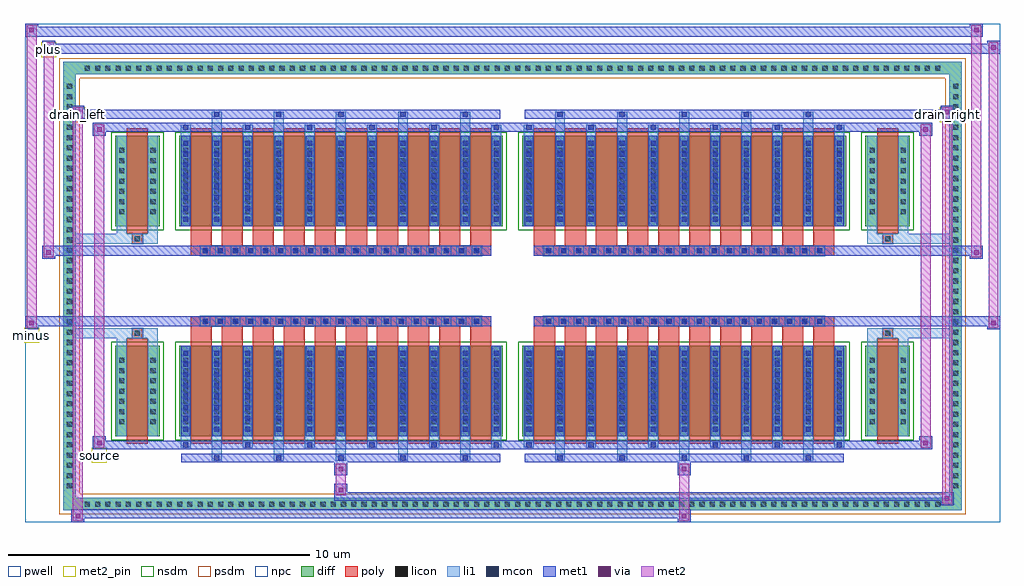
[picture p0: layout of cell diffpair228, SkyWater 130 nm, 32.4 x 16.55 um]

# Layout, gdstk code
import gdstk
lib = gdstk.Library(unit=1e-6, precision=5e-09)
def R(c, l, rs):  # rectangles x0, y0, x1, y1
    for r in rs: c.add(gdstk.rectangle(r[:2], r[2:], *l))
def A(c, l, x, y, w, h, nx, ny, dx, dy):  # array of equal rectangles
    R(c, l, [(x+i*dx, y+j*dy, x+i*dx+w, y+j*dy+h) for i in range(nx) for j in range(ny)])
def P(c, l, *ps):  # polygons
    for p in ps: c.add(gdstk.Polygon(p, *l))
pwell = (64, 44)
diff = (65, 20)
poly = (66, 20)
licon = (66, 44)
li1 = (67, 20)
mcon = (67, 44)
met1 = (68, 20)
via = (68, 44)
met2_pin = (69, 16)
met2 = (69, 20)
nsdm = (93, 44)
psdm = (94, 20)
npc = (95, 20)

diffpair228 = lib.new_cell('diffpair228')
R(diffpair228, pwell, [(-16.18,-7.84,16.18,8.71), (-13.5,-6.03,-0.01,-0.805), (0.01,-6.03,13.5,-0.805), (-13.5,0.805,-0.01,6.03), (0.01,0.805,13.5,6.03)])
A(diffpair228, diff, -14.315, -7.44, 0.41, 0.41, 84, 2, 0.34, 14.47)
A(diffpair228, diff, -14.91, -6.835, 0.41, 0.41, 1, 40, 0, 0.34)
A(diffpair228, diff, 14.5, -6.835, 0.41, 0.41, 1, 40, 0, 0.34)
R(diffpair228, diff, [(-14.315,-7.44,14.315,-7.03), (-14.91,-6.835,-14.5,6.835), (14.5,-6.835,14.91,6.835), (-13.19,-4.985,-11.71,-1.985), (-11.07,-4.985,-0.32,-1.985), (0.32,-4.985,11.07,-1.985), (11.71,-4.985,13.19,-1.985), (-13.19,1.985,-11.71,4.985), (-11.07,1.985,-0.32,4.985), (0.32,1.985,11.07,4.985), (11.71,1.985,13.19,4.985), (-14.315,7.03,14.315,7.44)])
P(diffpair228, diff, [(14.91,7.44),(-14.91,7.44),(-14.91,-7.03),(-14.5,-7.03),(-14.5,7.03),(14.5,7.03),(14.5,-7.03),(-14.5,-7.03),(-14.91,-7.03),(-14.91,-7.44),(14.91,-7.44)])
A(diffpair228, poly, -10.68, -5.235, 0.7, 3.5, 10, 2, 1.03, 6.97)
A(diffpair228, poly, 0.71, -5.235, 0.7, 3.5, 10, 2, 1.03, 6.97)
A(diffpair228, poly, -10.68, -1.735, 0.7, 0.4, 10, 2, 1.03, 3.07)
A(diffpair228, poly, 0.71, -1.735, 0.7, 0.4, 10, 2, 1.03, 3.07)
A(diffpair228, poly, -10.36, -1.335, 0.33, 0.33, 19, 2, 0.5, 2.34)
A(diffpair228, poly, 1.03, -1.335, 0.33, 0.33, 19, 2, 0.5, 2.34)
R(diffpair228, poly, [(-12.8,-5.235,-12.1,-1.735), (12.1,-5.235,12.8,-1.735), (-12.615,-1.735,-12.285,-1.405), (-12.615,-1.735,-12.285,-1.405), (12.285,-1.735,12.615,-1.405), (12.285,-1.735,12.615,-1.405), (-10.68,-1.335,-0.71,-1.005), (0.71,-1.335,10.68,-1.005), (-10.68,1.005,-0.71,1.335), (0.71,1.005,10.68,1.335), (-12.615,1.405,-12.285,1.735), (-12.615,1.405,-12.285,1.735), (12.285,1.405,12.615,1.735), (12.285,1.405,12.615,1.735), (-12.8,1.735,-12.1,5.235), (12.1,1.735,12.8,5.235)])
A(diffpair228, licon, -14.195, -7.32, 0.17, 0.17, 84, 2, 0.34, 14.47)
A(diffpair228, licon, -14.79, -6.715, 0.17, 0.17, 1, 40, 0, 0.34)
A(diffpair228, licon, 14.62, -6.715, 0.17, 0.17, 1, 40, 0, 0.34)
A(diffpair228, licon, -13.05, -4.59, 0.17, 0.17, 1, 7, 0, 0.34)
A(diffpair228, licon, -12.02, -4.59, 0.17, 0.17, 1, 7, 0, 0.34)
A(diffpair228, licon, -10.93, -4.59, 0.17, 0.17, 11, 7, 1.03, 0.34)
A(diffpair228, licon, 0.46, -4.59, 0.17, 0.17, 11, 7, 1.03, 0.34)
A(diffpair228, licon, 11.85, -4.59, 0.17, 0.17, 1, 7, 0, 0.34)
A(diffpair228, licon, 12.88, -4.59, 0.17, 0.17, 1, 7, 0, 0.34)
A(diffpair228, licon, -10.28, -1.255, 0.17, 0.17, 19, 2, 0.5, 2.34)
A(diffpair228, licon, 1.11, -1.255, 0.17, 0.17, 19, 2, 0.5, 2.34)
A(diffpair228, licon, -13.05, 2.38, 0.17, 0.17, 1, 7, 0, 0.34)
A(diffpair228, licon, -12.02, 2.38, 0.17, 0.17, 1, 7, 0, 0.34)
A(diffpair228, licon, -10.93, 2.38, 0.17, 0.17, 11, 7, 1.03, 0.34)
A(diffpair228, licon, 0.46, 2.38, 0.17, 0.17, 11, 7, 1.03, 0.34)
A(diffpair228, licon, 11.85, 2.38, 0.17, 0.17, 1, 7, 0, 0.34)
A(diffpair228, licon, 12.88, 2.38, 0.17, 0.17, 1, 7, 0, 0.34)
R(diffpair228, licon, [(-12.535,-1.655,-12.365,-1.485), (12.365,-1.655,12.535,-1.485), (-12.535,1.485,-12.365,1.655), (12.365,1.485,12.535,1.655)])
A(diffpair228, li1, -14.275, -7.4, 0.33, 0.33, 84, 2, 0.34, 14.47)
A(diffpair228, li1, -14.87, -6.795, 0.33, 0.33, 1, 40, 0, 0.34)
A(diffpair228, li1, 14.54, -6.795, 0.33, 0.33, 1, 40, 0, 0.34)
A(diffpair228, li1, -9.98, -5.79, 0.33, 0.805, 5, 2, 2.06, 10.775)
A(diffpair228, li1, -9.9, -5.79, 0.17, 0.17, 5, 2, 2.06, 11.41)
A(diffpair228, li1, 1.41, -5.79, 0.33, 0.805, 5, 2, 2.06, 10.775)
A(diffpair228, li1, 1.49, -5.79, 0.17, 0.17, 5, 2, 2.06, 11.41)
A(diffpair228, li1, -11.01, -5.36, 0.33, 0.375, 6, 2, 2.06, 10.345)
A(diffpair228, li1, -10.93, -5.36, 0.17, 0.17, 6, 2, 2.06, 10.55)
A(diffpair228, li1, 0.38, -5.36, 0.33, 0.375, 6, 2, 2.06, 10.345)
A(diffpair228, li1, 0.46, -5.36, 0.17, 0.17, 6, 2, 2.06, 10.55)
A(diffpair228, li1, -11.01, -4.985, 0.33, 3, 11, 2, 1.03, 6.97)
A(diffpair228, li1, 0.38, -4.985, 0.33, 3, 11, 2, 1.03, 6.97)
A(diffpair228, li1, -10.93, -4.83, 0.17, 0.17, 11, 8, 1.03, 0.36)
A(diffpair228, li1, -10.93, -4.83, 0.17, 2.69, 11, 2, 1.03, 6.97)
A(diffpair228, li1, 0.46, -4.83, 0.17, 0.17, 11, 8, 1.03, 0.36)
A(diffpair228, li1, 0.46, -4.83, 0.17, 2.69, 11, 2, 1.03, 6.97)
A(diffpair228, li1, -13.13, -4.67, 0.33, 0.33, 1, 7, 0, 0.34)
A(diffpair228, li1, -12.1, -4.67, 0.33, 0.33, 1, 7, 0, 0.34)
A(diffpair228, li1, -11.01, -4.67, 0.33, 0.33, 11, 7, 1.03, 0.34)
A(diffpair228, li1, 0.38, -4.67, 0.33, 0.33, 11, 7, 1.03, 0.34)
A(diffpair228, li1, 11.77, -4.67, 0.33, 0.33, 1, 7, 0, 0.34)
A(diffpair228, li1, 12.8, -4.67, 0.33, 0.33, 1, 7, 0, 0.34)
A(diffpair228, li1, -10.36, -1.335, 0.33, 0.33, 19, 2, 0.5, 2.34)
A(diffpair228, li1, 1.03, -1.335, 0.33, 0.33, 19, 2, 0.5, 2.34)
A(diffpair228, li1, -10.93, 2.14, 0.17, 0.17, 11, 8, 1.03, 0.36)
A(diffpair228, li1, 0.46, 2.14, 0.17, 0.17, 11, 8, 1.03, 0.36)
A(diffpair228, li1, -13.13, 2.3, 0.33, 0.33, 1, 7, 0, 0.34)
A(diffpair228, li1, -12.1, 2.3, 0.33, 0.33, 1, 7, 0, 0.34)
A(diffpair228, li1, -11.01, 2.3, 0.33, 0.33, 11, 7, 1.03, 0.34)
A(diffpair228, li1, 0.38, 2.3, 0.33, 0.33, 11, 7, 1.03, 0.34)
A(diffpair228, li1, 11.77, 2.3, 0.33, 0.33, 1, 7, 0, 0.34)
A(diffpair228, li1, 12.8, 2.3, 0.33, 0.33, 1, 7, 0, 0.34)
R(diffpair228, li1, [(-14.91,-7.44,-14.5,-7.03), (-14.91,-7.44,-14.5,-7.03), (-14.5,-7.44,14.5,-7.03), (14.5,-7.44,14.91,-7.03), (14.5,-7.44,14.91,-7.03), (-14.91,-7.03,-14.5,7.03), (14.5,-7.03,14.91,7.03), (-13.13,-4.985,-12.8,-1.985), (-12.1,-4.985,-11.77,-1.985), (11.77,-4.985,12.1,-1.985), (12.8,-4.985,13.13,-1.985), (-13.13,-1.985,-12.8,-1.405), (-12.1,-1.985,-11.77,-1.405), (11.77,-1.985,12.1,-1.405), (12.8,-1.985,13.13,-1.405), (-14.91,-1.735,-12.615,-1.405), (-13.13,-1.735,-12.615,-1.405), (-12.615,-1.735,-12.285,-1.405), (-12.285,-1.735,-11.77,-1.405), (11.77,-1.735,12.285,-1.405), (12.285,-1.735,12.615,-1.405), (12.285,-1.735,14.91,-1.405), (12.615,-1.735,13.13,-1.405), (-14.91,1.405,-12.615,1.735), (-13.13,1.405,-12.615,1.735), (-13.13,1.405,-12.8,1.985), (-12.615,1.405,-12.285,1.735), (-12.285,1.405,-11.77,1.735), (-12.1,1.405,-11.77,1.985), (11.77,1.405,12.285,1.735), (11.77,1.405,12.1,1.985), (12.285,1.405,12.615,1.735), (12.285,1.405,14.91,1.735), (12.615,1.405,13.13,1.735), (12.8,1.405,13.13,1.985), (-13.13,1.985,-12.8,4.985), (-12.1,1.985,-11.77,4.985), (11.77,1.985,12.1,4.985), (12.8,1.985,13.13,4.985), (-14.91,7.03,-14.5,7.44), (-14.91,7.03,-14.5,7.44), (-14.5,7.03,14.5,7.44), (14.5,7.03,14.91,7.44), (14.5,7.03,14.91,7.44)])
A(diffpair228, mcon, -9.9, -5.79, 0.17, 0.17, 5, 2, 2.06, 11.41)
A(diffpair228, mcon, 1.49, -5.79, 0.17, 0.17, 5, 2, 2.06, 11.41)
A(diffpair228, mcon, -10.93, -5.36, 0.17, 0.17, 6, 2, 2.06, 10.55)
A(diffpair228, mcon, 0.46, -5.36, 0.17, 0.17, 6, 2, 2.06, 10.55)
A(diffpair228, mcon, -10.93, -4.83, 0.17, 0.17, 11, 8, 1.03, 0.36)
A(diffpair228, mcon, 0.46, -4.83, 0.17, 0.17, 11, 8, 1.03, 0.36)
A(diffpair228, mcon, -10.28, -1.255, 0.17, 0.17, 19, 2, 0.5, 2.34)
A(diffpair228, mcon, 1.11, -1.255, 0.17, 0.17, 19, 2, 0.5, 2.34)
A(diffpair228, mcon, -10.93, 2.14, 0.17, 0.17, 11, 8, 1.03, 0.36)
A(diffpair228, mcon, 0.46, 2.14, 0.17, 0.17, 11, 8, 1.03, 0.36)
A(diffpair228, met1, -9.96, -5.85, 0.29, 0.29, 5, 2, 2.06, 11.41)
A(diffpair228, met1, 1.43, -5.85, 0.29, 0.29, 5, 2, 2.06, 11.41)
A(diffpair228, met1, -10.99, -5.42, 0.29, 0.29, 6, 2, 2.06, 10.55)
A(diffpair228, met1, 0.4, -5.42, 0.29, 0.29, 6, 2, 2.06, 10.55)
A(diffpair228, met1, -10.99, -4.985, 0.29, 3, 11, 2, 1.03, 6.97)
A(diffpair228, met1, 0.4, -4.985, 0.29, 3, 11, 2, 1.03, 6.97)
A(diffpair228, met1, -10.99, -4.89, 0.29, 0.29, 11, 8, 1.03, 0.36)
A(diffpair228, met1, 0.4, -4.89, 0.29, 0.29, 11, 8, 1.03, 0.36)
A(diffpair228, met1, -10.34, -1.315, 0.29, 0.29, 19, 2, 0.5, 2.34)
A(diffpair228, met1, 1.05, -1.315, 0.29, 0.29, 19, 2, 0.5, 2.34)
A(diffpair228, met1, -10.99, 2.08, 0.29, 0.29, 11, 8, 1.03, 0.36)
A(diffpair228, met1, 0.4, 2.08, 0.29, 0.29, 11, 8, 1.03, 0.36)
R(diffpair228, met1, [(-14.64,-7.84,-14.21,-7.41), (5.48,-7.84,5.91,-7.41), (-14.64,-7.7,5.91,-7.41), (14.21,-7.27,14.64,-6.84), (-5.91,-7.13,14.64,-6.84), (-5.91,-6.99,-5.48,-6.56), (-5.91,-6.28,-5.48,-5.85), (5.48,-6.28,5.91,-5.85), (-10.99,-5.85,-0.4,-5.56), (0.4,-5.85,10.99,-5.56), (-13.93,-5.42,-13.5,-4.99), (-13.93,-5.42,-10.99,-5.13), (-10.99,-5.42,-0.4,-5.13), (-0.4,-5.42,0.4,-5.13), (0.4,-5.42,10.99,-5.13), (10.99,-5.42,13.93,-5.13), (13.5,-5.42,13.93,-4.99), (-16.18,-1.435,-15.75,-1.005), (15.75,-1.435,16.18,-1.005), (-16.18,-1.335,-0.71,-1.005), (-10.68,-1.335,-0.71,-1.005), (0.71,-1.335,10.68,-1.005), (0.71,-1.335,16.18,-1.005), (-15.61,0.905,-15.18,1.335), (15.18,0.905,15.61,1.335), (-15.61,1.005,-10.68,1.335), (-10.68,1.005,-0.71,1.335), (0.71,1.005,10.68,1.335), (10.68,1.005,15.61,1.335), (-13.93,4.99,-13.5,5.42), (13.5,4.99,13.93,5.42), (-13.93,5.13,-10.99,5.42), (-10.99,5.13,-0.4,5.42), (-0.4,5.13,0.4,5.42), (0.4,5.13,10.99,5.42), (10.99,5.13,13.93,5.42), (-14.64,5.56,-14.21,5.99), (-14.64,5.56,-10.99,5.85), (-10.99,5.56,-0.4,5.85), (0.4,5.56,10.99,5.85), (10.99,5.56,14.64,5.85), (14.21,5.56,14.64,5.99), (-15.61,7.71,-15.18,8.14), (-15.61,7.71,-13.5,8.04), (-13.5,7.71,13.5,8.04), (13.5,7.71,16.18,8.04), (15.75,7.71,16.18,8.14), (-16.18,8.28,-15.75,8.71), (-16.18,8.28,-13.5,8.61), (-13.5,8.28,13.5,8.61), (13.5,8.28,15.61,8.61), (15.18,8.28,15.61,8.71)])
R(diffpair228, via, [(-14.5,-7.7,-14.35,-7.55), (5.62,-7.7,5.77,-7.55), (14.35,-7.13,14.5,-6.98), (-5.77,-6.85,-5.62,-6.7), (-5.77,-6.14,-5.62,-5.99), (5.62,-6.14,5.77,-5.99), (-13.79,-5.28,-13.64,-5.13), (13.64,-5.28,13.79,-5.13), (-16.04,-1.295,-15.89,-1.145), (15.89,-1.295,16.04,-1.145), (-15.47,1.045,-15.32,1.195), (15.32,1.045,15.47,1.195), (-13.79,5.13,-13.64,5.28), (13.64,5.13,13.79,5.28), (-14.5,5.7,-14.35,5.85), (14.35,5.7,14.5,5.85), (-15.47,7.85,-15.32,8), (15.89,7.85,16.04,8), (-16.04,8.42,-15.89,8.57), (15.32,8.42,15.47,8.57)])
R(diffpair228, met2_pin, [(-13.965,-5.87,-13.465,-5.37), (-16.215,-1.885,-15.715,-1.385), (-14.675,5.44,-14.175,5.94), (14.175,5.44,14.675,5.94), (-15.645,7.59,-15.145,8.09)])
R(diffpair228, met2, [(-14.59,-7.79,-14.26,-7.46), (-14.59,-7.79,-14.26,5.94), (5.53,-7.79,5.86,-7.46), (5.53,-7.46,5.86,-6.23), (14.26,-7.22,14.59,-6.89), (14.26,-7.22,14.59,5.94), (-5.86,-6.94,-5.53,-6.61), (-5.86,-6.61,-5.53,-6.23), (-5.86,-6.23,-5.53,-5.9), (5.53,-6.23,5.86,-5.9), (-13.88,-5.37,-13.55,-5.04), (-13.88,-5.37,-13.55,5.37), (13.55,-5.37,13.88,-5.04), (13.55,-5.37,13.88,5.37), (-16.13,-1.385,-15.8,-1.055), (-16.13,-1.385,-15.8,8.66), (15.8,-1.385,16.13,-1.055), (15.8,-1.385,16.13,8.09), (-15.56,0.955,-15.23,1.285), (-15.56,0.955,-15.23,8.09), (15.23,0.955,15.56,1.285), (15.23,0.955,15.56,8.66), (-13.88,5.04,-13.55,5.37), (13.55,5.04,13.88,5.37), (-14.59,5.61,-14.26,5.94), (14.26,5.61,14.59,5.94), (-15.56,7.76,-15.23,8.09), (15.8,7.76,16.13,8.09), (-16.13,8.33,-15.8,8.66), (15.23,8.33,15.56,8.66)])
P(diffpair228, met2, [(16.13,-1.385),(16.13,-1.385),(16.13,-1.055),(16.13,-1.055)],
  [(16.13,7.76),(16.13,7.76),(16.13,8.09),(16.13,8.09)],
  [(-15.8,-1.385),(-15.8,-1.385),(-15.8,-1.055),(-15.8,-1.055)],
  [(-15.8,8.33),(-15.8,8.33),(-15.8,8.66),(-15.8,8.66)],
  [(15.56,0.955),(15.56,0.955),(15.56,1.285),(15.56,1.285)],
  [(15.56,8.33),(15.56,8.33),(15.56,8.66),(15.56,8.66)],
  [(-15.23,0.955),(-15.23,0.955),(-15.23,1.285),(-15.23,1.285)],
  [(-15.23,7.76),(-15.23,7.76),(-15.23,8.09),(-15.23,8.09)],
  [(-14.26,-7.79),(-14.26,-7.79),(-14.26,-7.46),(-14.26,-7.46)],
  [(-14.26,5.61),(-14.26,5.61),(-14.26,5.94),(-14.26,5.94)],
  [(14.59,-7.22),(14.59,-7.22),(14.59,-6.89),(14.59,-6.89)],
  [(14.59,5.61),(14.59,5.61),(14.59,5.94),(14.59,5.94)],
  [(-13.55,-5.37),(-13.55,-5.37),(-13.55,-5.04),(-13.55,-5.04)],
  [(-13.55,5.04),(-13.55,5.04),(-13.55,5.37),(-13.55,5.37)],
  [(13.88,-5.37),(13.88,-5.37),(13.88,-5.04),(13.88,-5.04)],
  [(13.88,5.04),(13.88,5.04),(13.88,5.37),(13.88,5.37)])
R(diffpair228, nsdm, [(-13.32,-5.115,-11.58,-1.855), (-11.2,-5.115,-0.19,-1.855), (0.19,-5.115,11.2,-1.855), (11.58,-5.115,13.32,-1.855), (-13.32,1.855,-11.58,5.115), (-11.2,1.855,-0.19,5.115), (0.19,1.855,11.2,5.115), (11.58,1.855,13.32,5.115)])
P(diffpair228, psdm, [(15.04,7.57),(-15.04,7.57),(-15.04,-6.9),(-14.37,-6.9),(-14.37,6.9),(14.37,6.9),(14.37,-6.9),(-14.37,-6.9),(-15.04,-6.9),(-15.04,-7.57),(15.04,-7.57)])
A(diffpair228, npc, -10.38, -1.355, 0.37, 0.37, 19, 2, 0.5, 2.34)
A(diffpair228, npc, 1.01, -1.355, 0.37, 0.37, 19, 2, 0.5, 2.34)
R(diffpair228, npc, [(-12.635,-1.755,-12.265,-1.385), (12.265,-1.755,12.635,-1.385), (-10.38,-1.355,-9.51,-0.985), (-10.38,-1.355,-9.51,-0.985), (-9.88,-1.355,-9.01,-0.985), (-9.88,-1.355,-9.01,-0.985), (-9.38,-1.355,-8.51,-0.985), (-9.38,-1.355,-8.51,-0.985), (-8.88,-1.355,-8.01,-0.985), (-8.88,-1.355,-8.01,-0.985), (-8.38,-1.355,-7.51,-0.985), (-8.38,-1.355,-7.51,-0.985), (-7.88,-1.355,-7.01,-0.985), (-7.88,-1.355,-7.01,-0.985), (-7.38,-1.355,-6.51,-0.985), (-7.38,-1.355,-6.51,-0.985), (-6.88,-1.355,-6.01,-0.985), (-6.88,-1.355,-6.01,-0.985), (-6.38,-1.355,-5.51,-0.985), (-6.38,-1.355,-5.51,-0.985), (-5.88,-1.355,-5.01,-0.985), (-5.88,-1.355,-5.01,-0.985), (-5.38,-1.355,-4.51,-0.985), (-5.38,-1.355,-4.51,-0.985), (-4.88,-1.355,-4.01,-0.985), (-4.88,-1.355,-4.01,-0.985), (-4.38,-1.355,-3.51,-0.985), (-4.38,-1.355,-3.51,-0.985), (-3.88,-1.355,-3.01,-0.985), (-3.88,-1.355,-3.01,-0.985), (-3.38,-1.355,-2.51,-0.985), (-3.38,-1.355,-2.51,-0.985), (-2.88,-1.355,-2.01,-0.985), (-2.88,-1.355,-2.01,-0.985), (-2.38,-1.355,-1.51,-0.985), (-2.38,-1.355,-1.51,-0.985), (-1.88,-1.355,-1.01,-0.985), (-1.88,-1.355,-1.01,-0.985), (1.01,-1.355,1.88,-0.985), (1.01,-1.355,1.88,-0.985), (1.51,-1.355,2.38,-0.985), (1.51,-1.355,2.38,-0.985), (2.01,-1.355,2.88,-0.985), (2.01,-1.355,2.88,-0.985), (2.51,-1.355,3.38,-0.985), (2.51,-1.355,3.38,-0.985), (3.01,-1.355,3.88,-0.985), (3.01,-1.355,3.88,-0.985), (3.51,-1.355,4.38,-0.985), (3.51,-1.355,4.38,-0.985), (4.01,-1.355,4.88,-0.985), (4.01,-1.355,4.88,-0.985), (4.51,-1.355,5.38,-0.985), (4.51,-1.355,5.38,-0.985), (5.01,-1.355,5.88,-0.985), (5.01,-1.355,5.88,-0.985), (5.51,-1.355,6.38,-0.985), (5.51,-1.355,6.38,-0.985), (6.01,-1.355,6.88,-0.985), (6.01,-1.355,6.88,-0.985), (6.51,-1.355,7.38,-0.985), (6.51,-1.355,7.38,-0.985), (7.01,-1.355,7.88,-0.985), (7.01,-1.355,7.88,-0.985), (7.51,-1.355,8.38,-0.985), (7.51,-1.355,8.38,-0.985), (8.01,-1.355,8.88,-0.985), (8.01,-1.355,8.88,-0.985), (8.51,-1.355,9.38,-0.985), (8.51,-1.355,9.38,-0.985), (9.01,-1.355,9.88,-0.985), (9.01,-1.355,9.88,-0.985), (9.51,-1.355,10.38,-0.985), (9.51,-1.355,10.38,-0.985), (-10.38,0.985,-9.51,1.355), (-10.38,0.985,-9.51,1.355), (-9.88,0.985,-9.01,1.355), (-9.88,0.985,-9.01,1.355), (-9.38,0.985,-8.51,1.355), (-9.38,0.985,-8.51,1.355), (-8.88,0.985,-8.01,1.355), (-8.88,0.985,-8.01,1.355), (-8.38,0.985,-7.51,1.355), (-8.38,0.985,-7.51,1.355), (-7.88,0.985,-7.01,1.355), (-7.88,0.985,-7.01,1.355), (-7.38,0.985,-6.51,1.355), (-7.38,0.985,-6.51,1.355), (-6.88,0.985,-6.01,1.355), (-6.88,0.985,-6.01,1.355), (-6.38,0.985,-5.51,1.355), (-6.38,0.985,-5.51,1.355), (-5.88,0.985,-5.01,1.355), (-5.88,0.985,-5.01,1.355), (-5.38,0.985,-4.51,1.355), (-5.38,0.985,-4.51,1.355), (-4.88,0.985,-4.01,1.355), (-4.88,0.985,-4.01,1.355), (-4.38,0.985,-3.51,1.355), (-4.38,0.985,-3.51,1.355), (-3.88,0.985,-3.01,1.355), (-3.88,0.985,-3.01,1.355), (-3.38,0.985,-2.51,1.355), (-3.38,0.985,-2.51,1.355), (-2.88,0.985,-2.01,1.355), (-2.88,0.985,-2.01,1.355), (-2.38,0.985,-1.51,1.355), (-2.38,0.985,-1.51,1.355), (-1.88,0.985,-1.01,1.355), (-1.88,0.985,-1.01,1.355), (1.01,0.985,1.88,1.355), (1.01,0.985,1.88,1.355), (1.51,0.985,2.38,1.355), (1.51,0.985,2.38,1.355), (2.01,0.985,2.88,1.355), (2.01,0.985,2.88,1.355), (2.51,0.985,3.38,1.355), (2.51,0.985,3.38,1.355), (3.01,0.985,3.88,1.355), (3.01,0.985,3.88,1.355), (3.51,0.985,4.38,1.355), (3.51,0.985,4.38,1.355), (4.01,0.985,4.88,1.355), (4.01,0.985,4.88,1.355), (4.51,0.985,5.38,1.355), (4.51,0.985,5.38,1.355), (5.01,0.985,5.88,1.355), (5.01,0.985,5.88,1.355), (5.51,0.985,6.38,1.355), (5.51,0.985,6.38,1.355), (6.01,0.985,6.88,1.355), (6.01,0.985,6.88,1.355), (6.51,0.985,7.38,1.355), (6.51,0.985,7.38,1.355), (7.01,0.985,7.88,1.355), (7.01,0.985,7.88,1.355), (7.51,0.985,8.38,1.355), (7.51,0.985,8.38,1.355), (8.01,0.985,8.88,1.355), (8.01,0.985,8.88,1.355), (8.51,0.985,9.38,1.355), (8.51,0.985,9.38,1.355), (9.01,0.985,9.88,1.355), (9.01,0.985,9.88,1.355), (9.51,0.985,10.38,1.355), (9.51,0.985,10.38,1.355), (-12.635,1.385,-12.265,1.755), (12.265,1.385,12.635,1.755)])
diffpair228.add(gdstk.Label('minus', (-15.965,-1.635), layer=69, texttype=5))
diffpair228.add(gdstk.Label('drain_right', (14.425,5.69), layer=69, texttype=5))
diffpair228.add(gdstk.Label('drain_left', (-14.425,5.69), layer=69, texttype=5))
diffpair228.add(gdstk.Label('source', (-13.715,-5.62), layer=69, texttype=5))
diffpair228.add(gdstk.Label('plus', (-15.395,7.84), layer=69, texttype=5))

lib.write_gds('diffpair228.gds')
